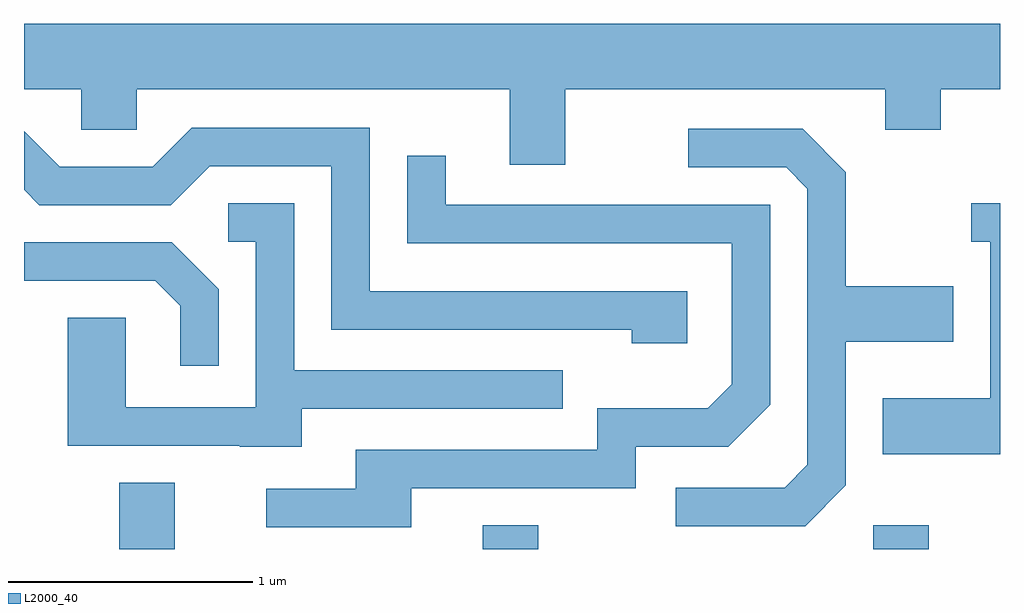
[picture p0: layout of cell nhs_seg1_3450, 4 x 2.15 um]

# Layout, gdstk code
import gdstk
lib = gdstk.Library(unit=1e-6, precision=1e-09)
def R(c, l, rs):  # rectangles x0, y0, x1, y1
    for r in rs: c.add(gdstk.rectangle(r[:2], r[2:], *l))
def P(c, l, *ps):  # polygons
    for p in ps: c.add(gdstk.Polygon(p, *l))
L2000_40 = (2000, 40)

nhs_seg1_3450 = lib.new_cell('nhs_seg1_3450')
R(nhs_seg1_3450, L2000_40, [(290.001,877.712,290.229,877.984), (291.491,877.712,291.719,877.809), (293.091,877.712,293.319,877.809)])
P(nhs_seg1_3450, L2000_40, [(291.829,879.596),(293.141,879.596),(293.141,879.431),(293.369,879.431),(293.369,879.596),(293.611,879.596),(293.611,879.864),(289.611,879.864),(289.611,879.596),(289.846,879.596),(289.846,879.431),(290.074,879.431),(290.074,879.596),(291.601,879.596),(291.601,879.286),(291.829,879.286)],
  [(292.329,878.769),(291.029,878.769),(291.029,879.439),(290.299,879.439),(290.139,879.279),(289.757,879.279),(289.611,879.425),(289.611,879.184),(289.674,879.121),(290.212,879.121),(290.372,879.281),(290.871,879.281),(290.871,878.611),(292.101,878.611),(292.101,878.556),(292.329,878.556)],
  [(292.979,877.974),(292.979,878.561),(293.419,878.561),(293.419,878.789),(292.979,878.789),(292.979,879.257),(292.802,879.434),(292.333,879.434),(292.333,879.276),(292.734,879.276),(292.821,879.189),(292.821,878.057),(292.729,877.964),(292.283,877.964),(292.283,877.806),(292.812,877.806)],
  [(291.199,877.961),(292.119,877.961),(292.119,878.131),(292.497,878.131),(292.669,878.304),(292.669,879.124),(291.339,879.124),(291.339,879.323),(291.181,879.323),(291.181,878.966),(292.511,878.966),(292.511,878.387),(292.414,878.289),(291.961,878.289),(291.961,878.119),(290.971,878.119),(290.971,877.959),(290.603,877.959),(290.603,877.801),(291.199,877.801)],
  [(293.611,879.129),(293.493,879.129),(293.493,878.971),(293.571,878.971),(293.571,878.329),(293.131,878.329),(293.131,878.101),(293.611,878.101)],
  [(290.749,878.286),(291.818,878.286),(291.818,878.444),(290.719,878.444),(290.719,879.129),(290.448,879.129),(290.448,878.971),(290.561,878.971),(290.561,878.294),(290.029,878.294),(290.029,878.659),(289.791,878.659),(289.791,878.136),(290.495,878.136),(290.495,878.131),(290.749,878.131)],
  [(290.409,878.777),(290.217,878.969),(289.611,878.969),(289.611,878.811),(290.149,878.811),(290.251,878.709),(290.251,878.463),(290.409,878.463)])

lib.write_gds('nhs_seg1_3450.gds')
